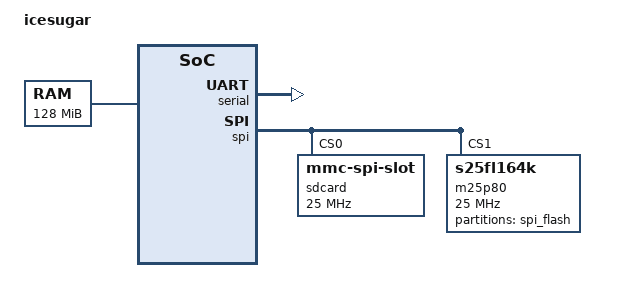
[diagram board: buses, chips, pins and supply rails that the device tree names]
/dts-v1/;

/ {
	model = "icesugar";
	compatible = "jcore,j2-soc";
	#address-cells = <1>;
	#size-cells = <1>;
	interrupt-parent = <&aic>;

	chosen { };

	cpus {
		#address-cells = <1>;
		#size-cells = <0>;


		cpu@0 {
			device_type = "cpu";
			compatible = "jcore,j2";
			clock-frequency = <12048192>;
			reg = <0>;
		};
	};

	clocks {

		bus_clock: bus_clock {
			compatible = "fixed-clock";
			#clock-cells = <0>;
			clock-frequency = <12048192>;
		};
	};

	memory@10000000 {
		device_type = "memory";
		reg = <0x10000000 0x8000000>;
	};

	soc@abcd0000 {
		compatible = "simple-bus";
		ranges = <0x0 0xabcd0000 0x1008>;
		#address-cells = <1>;
		#size-cells = <1>;

		cycle_counter {
			compatible = "jcore,cycle-counter";
			reg = <0x200 0x8>; // ABCD0200-ABCD0207
		};

		gpio2 {
			compatible = "jcore,gpio2";
			reg = <0x0 0x10>; // ABCD0000-ABCD000F
		};

		serial {
			compatible = "jcore,uartlite", "xlnx,xps-uartlite-1.00.a";
			device_type = "serial";
			reg = <0x100 0x10>; // ABCD0100-ABCD010F
		};

		spi {
			#address-cells = <1>;
			#size-cells = <0>;
			clock-names = "ref_clk";
			clocks = <&bus_clock>;
			compatible = "jcore,spi2";
			spi-max-frequency = <25000000>;
			status = "ok";
			reg = <0x1000 0x8>; // ABCD1000-ABCD1007

			sdcard@0 {
				compatible = "mmc-spi-slot";
				reg = <0>;
				spi-max-frequency = <25000000>;
				voltage-ranges = <3200 3400>;
				mode = <0>;
			};

			m25p80@1 {
				compatible = "s25fl164k", "jedec,spi-nor";
				#address-cells = <1>;
				#size-cells = <1>;
				spi-max-frequency = <25000000>;
				reg = <1>;
				mode = <0>;
				m25p,fast-read;

				partition@0 {
					label = "spi_flash";
					reg = <0 0>;
				};
			};
		};
	};

	cpuid {
		compatible = "jcore,cpuid-mmio";
		reg = <0xabcd0600 0x4>;
	};
};
